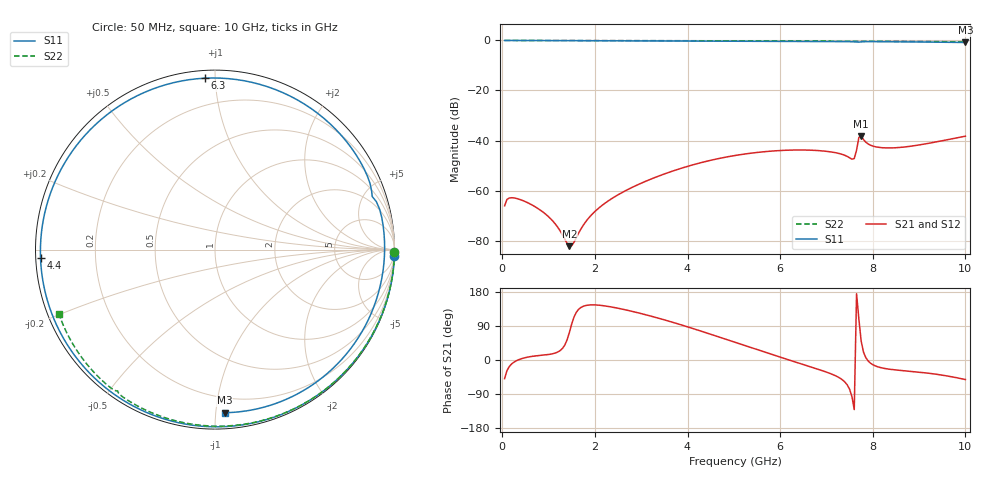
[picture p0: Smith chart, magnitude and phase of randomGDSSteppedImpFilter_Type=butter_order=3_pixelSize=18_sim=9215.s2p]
! freq	dB(S11)	phase(S11)	dB(S12)	phase(S12)
!  dB(S21)	phase(S21)	dB(S22)	phase(S22)
!S-par simulation data
#  GHz  S  DB  R 50
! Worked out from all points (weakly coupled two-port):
!   200 points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, 50 MHz to 10 GHz, reference 50 ohm
!   highest |S21| = -38.25 dB at 7.75 GHz (marker M1); lowest = -82.2 dB at 1.45 GHz (marker M2)
!   lowest |S11| = -0.8 dB at 10 GHz (marker M3), VSWR 21.30, Z = 4.98 - j52.9 ohm
!   |S11| at or under -10 dB: nowhere
!   |S22| runs from -0.5 to 0.0 dB; largest |S21 - S12| = 0
!   S11 on the Smith chart (normalised r, x): 50 MHz: 0, -54; 4.4 GHz: 0.01, -0.02; 6.3 GHz: 0.04, +0.94; 10 GHz: 0.10, -1.06
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0.05  -0.00 -2.1  -66.11 -49.2  -66.11 -49.2  -0.00 -0.9
0.2  -0.00 -8.5  -62.87 -10.6  -62.87 -10.6  -0.00 -3.6
0.6  -0.02 -25.3  -65.35 8.8  -65.35 8.8  -0.01 -10.8
1  -0.05 -41.9  -70.50 14.6  -70.50 14.6  -0.02 -18.0
1.35  -0.07 -56.2  -79.48 39.5  -79.48 39.5  -0.03 -24.2
1.45  -0.08 -60.2  -82.24 73.2  -82.24 73.2  -0.03 -25.9
1.55  -0.08 -64.2  -80.61 113.8  -80.61 113.8  -0.03 -27.7
1.75  -0.09 -72.2  -73.83 141.8  -73.83 141.8  -0.04 -31.2
2.35  -0.12 -95.9  -63.39 140.1  -63.39 140.1  -0.05 -41.5
3.4  -0.17 -136.9  -54.05 109.4  -54.05 109.4  -0.08 -59.2
4.4  -0.24 -177.2  -48.35 71.9  -48.35 71.9  -0.11 -75.3
5.05  -0.29 154.6  -45.92 45.6  -45.92 45.6  -0.13 -85.4
5.75  -0.34 121.5  -44.33 17.5  -44.33 17.5  -0.16 -96.0
6.3  -0.38 93.4  -43.80 -4.1  -43.80 -4.1  -0.19 -104.2
6.7  -0.41 72.1  -43.90 -19.6  -43.90 -19.6  -0.22 -110.1
7.6  -0.55 23.0  -47.21 -130.8  -47.21 -130.8  -0.30 -123.3
7.7  -0.68 18.7  -38.76 107.5  -38.76 107.5  -0.39 -124.5
7.75  -0.56 16.5  -38.25 49.6  -38.25 49.6  -0.36 -124.9
7.95  -0.48 5.5  -41.87 -8.3  -41.87 -8.3  -0.31 -127.9
8.35  -0.52 -14.8  -42.98 -24.2  -42.98 -24.2  -0.35 -133.7
9.2  -0.64 -53.9  -41.14 -34.8  -41.14 -34.8  -0.43 -145.9
10  -0.82 -86.5  -38.27 -51.6  -38.27 -51.6  -0.53 -157.7
